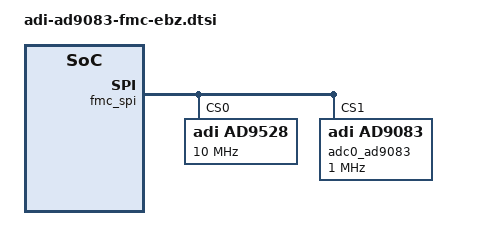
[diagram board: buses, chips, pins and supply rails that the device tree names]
// SPDX-License-Identifier: GPL-2.0
/*
 * dts file for AD9172-FMC-EBZ on Xilinx ZynqMP ZCU102 Rev 1.0
 *
 * Copyright (C) 2018-2019 Analog Devices Inc.
 */
#include <dt-bindings/iio/frequency/ad9528.h>

&fmc_spi {
	ad9528: ad9528@0 {
		compatible = "adi,ad9528";
		reg = <0>;

		#address-cells = <1>;
		#size-cells = <0>;

		spi-max-frequency = <10000000>;
		adi,spi-3wire-enable;

		clock-output-names = "ad9528-1_out0", "ad9528-1_out1", "ad9528-1_out2",
			"ad9528-1_out3", "ad9528-1_out4", "ad9528-1_out5", "ad9528-1_out6",
			"ad9528-1_out7", "ad9528-1_out8", "ad9528-1_out9", "ad9528-1_out10",
			"ad9528-1_out11", "ad9528-1_out12", "ad9528-1_out13";
		#clock-cells = <1>;

		adi,vcxo-freq = <100000000>;

		adi,refa-enable;
		adi,refa-diff-rcv-enable;
		adi,refa-r-div = <1>;
		adi,osc-in-cmos-neg-inp-enable;

		/* PLL1 config */
		adi,pll1-feedback-div = <4>;
		adi,pll1-charge-pump-current-nA = <5000>;

		/* PLL2 config */
		adi,pll2-vco-div-m1 = <4>;
		adi,pll2-n2-div = <10>;
		adi,pll2-r1-div = <1>;
		adi,pll2-charge-pump-current-nA = <805000>;

		/* SYSREF config */
		adi,sysref-src = <SYSREF_SRC_INTERNAL>;
		adi,sysref-pattern-mode = <SYSREF_PATTERN_CONTINUOUS>;
		adi,sysref-k-div = <768>;
		adi,sysref-request-enable;
		adi,sysref-nshot-mode = <SYSREF_NSHOT_4_PULSES>;
		adi,sysref-request-trigger-mode = <SYSREF_LEVEL_HIGH>;

		adi,rpole2 = <RPOLE2_900_OHM>;
		adi,rzero = <RZERO_1850_OHM>;
		adi,cpole1 = <CPOLE1_16_PF>;

		adi,status-mon-pin0-function-select = <0xFF>; /* No function */
		adi,status-mon-pin1-function-select = <0xFF>; /* No function */

		ad9528_0_c0: channel@0 {
			reg = <0>;
			adi,extended-name = "FPGA_SYSREF_CLK";
			adi,driver-mode = <DRIVER_MODE_LVDS>;
			adi,divider-phase = <0>;
			adi,channel-divider = <1>; /* only sysref-k-div when FPGA_SYSREF_CLK */
			adi,signal-source = <SOURCE_SYSREF_VCO>;
		};

		ad9528_0_c1: channel@1 {
			reg = <1>;
			adi,extended-name = "FPGA_GLBL_CLK";
			adi,driver-mode = <DRIVER_MODE_LVDS>;
			adi,divider-phase = <0>;
			adi,channel-divider = <8>;
			adi,signal-source = <SOURCE_VCO>;
		};

		ad9528_0_c3: channel@3 {
			reg = <3>;
			adi,extended-name = "FPGA_REF_CLK";
			adi,driver-mode = <DRIVER_MODE_LVDS>;
			adi,divider-phase = <0>;
			adi,channel-divider = <2>;
			adi,signal-source = <SOURCE_VCO>;
		};

		ad9528_0_c12: channel@12 {
			reg = <12>;
			adi,extended-name = "ADC_SYSREF_CLK"; /* only sysref-k-div when FPGA_SYSREF_CLK */
			adi,driver-mode = <DRIVER_MODE_LVDS>;
			adi,divider-phase = <0>;
			adi,channel-divider = <5>;
			adi,signal-source = <SOURCE_SYSREF_VCO>;
		};

		ad9528_0_c13: channel@13 {
			reg = <13>;
			adi,extended-name = "ADC_REF_CLK";
			adi,driver-mode = <DRIVER_MODE_LVDS>;
			adi,divider-phase = <0>;
			adi,channel-divider = <4>;
			adi,signal-source = <SOURCE_VCO>;
		};
	};

	adc0_ad9083: ad9083@1 {
		#address-cells = <1>;
		#size-cells = <0>;
		compatible = "adi,ad9083";
		reg = <1>;
		spi-max-frequency = <1000000>;
		clocks = <&ad9528 12>, <&ad9528 13>;
		clock-names = "adc_sysref", "adc_ref_clk";

		adi,dac-rate-khz = <3000000>;
		adi,jesd-link-mode = <10>;

		adi,jesd-subclass = <0>;
		adi,dac-interpolation = <1>;
		adi,channel-interpolation = <1>;
		adi,clock-output-divider = <1>;
		adi,syncoutb-signal-type-lvds-enable;

	};
};

